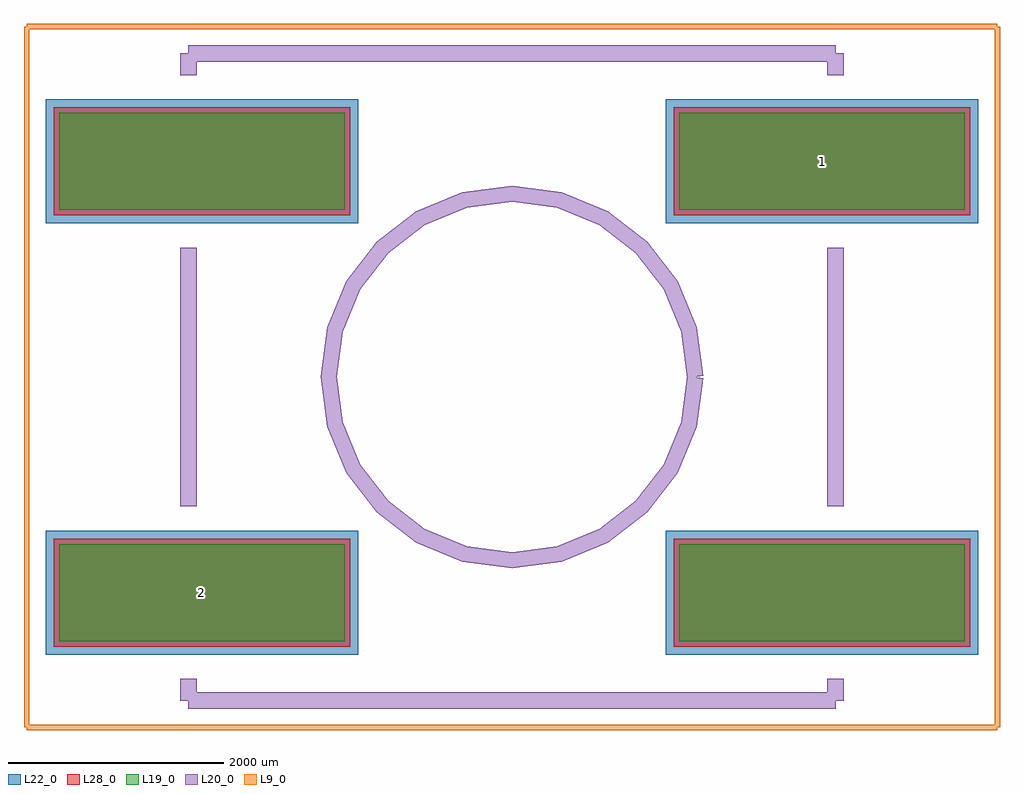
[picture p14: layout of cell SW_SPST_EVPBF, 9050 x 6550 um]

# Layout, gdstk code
import gdstk
lib = gdstk.Library(unit=1e-6, precision=1e-09)
def R(c, l, rs):  # rectangles x0, y0, x1, y1
    for r in rs: c.add(gdstk.rectangle(r[:2], r[2:], *l))
L9_0 = (9, 0)
L19_0 = (19, 0)
L20_0 = (20, 0)
L22_0 = (22, 0)
L28_0 = (28, 0)

sw_spst_evpbf = lib.new_cell('SW_SPST_EVPBF')
R(sw_spst_evpbf, L19_0, [(-4200,-2450,-1550,-1550), (1550,-2450,4200,-1550), (-4200,1550,-1550,2450), (1550,1550,4200,2450)])
R(sw_spst_evpbf, L22_0, [(-4325,-2575,-1425,-1425), (1425,-2575,4325,-1425), (-4325,1425,-1425,2575), (1425,1425,4325,2575)])
R(sw_spst_evpbf, L28_0, [(-4250,-2500,-1500,-1500), (1500,-2500,4250,-1500), (-4250,1500,-1500,2500), (1500,1500,4250,2500)])
sw_spst_evpbf.add(gdstk.FlexPath([(1700,0),(1642.074,439.992),(1472.243,850),(1202.082,1202.082),(850,1472.243),(439.992,1642.074),(0,1700),(-439.992,1642.074),(-850,1472.243),(-1202.082,1202.082),(-1472.243,850),(-1642.074,439.992),(-1700,0),(-1642.074,-439.992),(-1472.243,-850),(-1202.082,-1202.082),(-850,-1472.243),(-439.992,-1642.074),(0,-1700),(439.992,-1642.074),(850,-1472.243),(1202.082,-1202.082),(1472.243,-850),(1642.074,-439.992),(1700,0)], 149.998, ends="flush", simple_path=True, layer=20, datatype=0))  # L20_0
sw_spst_evpbf.add(gdstk.FlexPath([(-3000,-3000),(3000,-3000)], 149.998, ends="flush", simple_path=True, layer=20, datatype=0))  # L20_0
sw_spst_evpbf.add(gdstk.FlexPath([(3000,3000),(-3000,3000)], 149.998, ends="flush", simple_path=True, layer=20, datatype=0))  # L20_0
sw_spst_evpbf.add(gdstk.FlexPath([(3000,1200),(3000,-1200)], 149.998, ends="flush", simple_path=True, layer=20, datatype=0))  # L20_0
sw_spst_evpbf.add(gdstk.FlexPath([(-3000,1200),(-3000,-1200)], 149.998, ends="flush", simple_path=True, layer=20, datatype=0))  # L20_0
sw_spst_evpbf.add(gdstk.FlexPath([(-3000,3000),(-3000,2800)], 149.998, ends="flush", simple_path=True, layer=20, datatype=0))  # L20_0
sw_spst_evpbf.add(gdstk.FlexPath([(-3000,-3000),(-3000,-2800)], 149.998, ends="flush", simple_path=True, layer=20, datatype=0))  # L20_0
sw_spst_evpbf.add(gdstk.FlexPath([(3000,-3000),(3000,-2800)], 149.998, ends="flush", simple_path=True, layer=20, datatype=0))  # L20_0
sw_spst_evpbf.add(gdstk.FlexPath([(3000,3000),(3000,2800)], 149.998, ends="flush", simple_path=True, layer=20, datatype=0))  # L20_0
sw_spst_evpbf.add(gdstk.FlexPath([(-4500,-3250),(-4500,3250)], 50, ends="flush", simple_path=True, layer=9, datatype=0))  # L9_0
sw_spst_evpbf.add(gdstk.FlexPath([(4500,-3250),(-4500,-3250)], 50, ends="flush", simple_path=True, layer=9, datatype=0))  # L9_0
sw_spst_evpbf.add(gdstk.FlexPath([(4500,3250),(4500,-3250)], 50, ends="flush", simple_path=True, layer=9, datatype=0))  # L9_0
sw_spst_evpbf.add(gdstk.FlexPath([(-4500,3250),(4500,3250)], 50, ends="flush", simple_path=True, layer=9, datatype=0))  # L9_0
sw_spst_evpbf.add(gdstk.Label('2', (-2875,-2000), layer=28, texttype=0))
sw_spst_evpbf.add(gdstk.Label('1', (2875,2000), layer=28, texttype=0))
sw_spst_evpbf.add(gdstk.Label('type', (0,-4250), layer=9, texttype=0))
sw_spst_evpbf.add(gdstk.Label('devicename', (-1000,4000), layer=9, texttype=0))

lib.write_gds('SW_SPST_EVPBF.gds')
